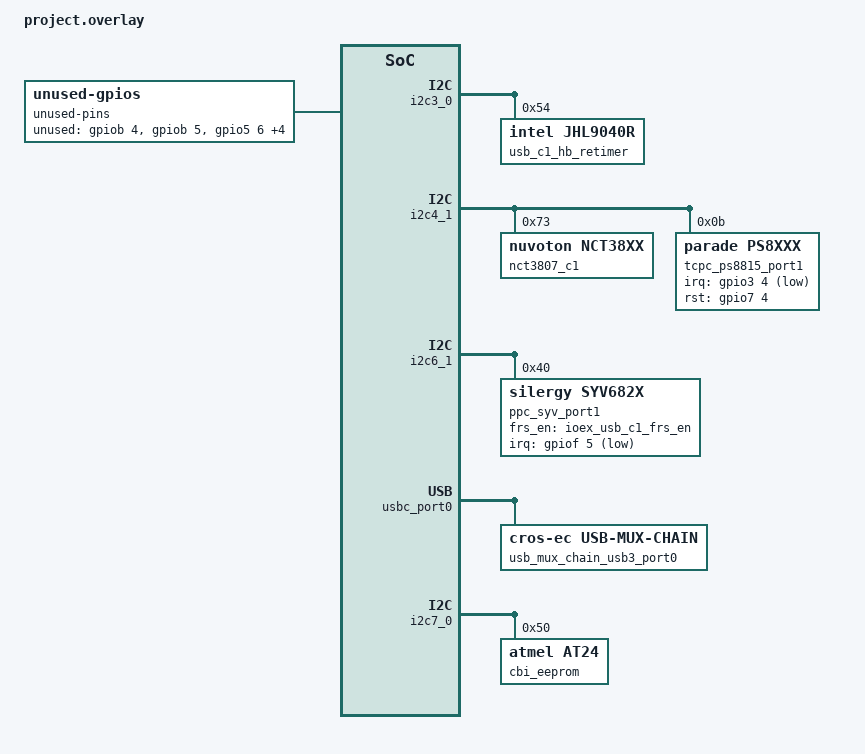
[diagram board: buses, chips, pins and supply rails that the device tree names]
/* Copyright 2023 The ChromiumOS Authors
 * Use of this source code is governed by a BSD-style license that can be
 * found in the LICENSE file.
 */

#include <cros/cbi_flash.dtsi>

/* Rex program common DTSI includes */
#include "../fan.dtsi"
#include "gpio.dtsi"
#include "../interrupts.dtsi"
#include "../keyboard.dtsi"
#include "../power_signals.dtsi"
#include "../rex.dtsi"
#include "../usbc.dtsi"

/* Screebo project DTS includes */
#include "cbi.dtsi"
#include "keyboard.dtsi"
#include "led_pins.dtsi"
#include "led_policy.dtsi"
#include "temp_sensors.dtsi"

/ {
	named-gpios {
		/delete-node/ ec-i2c-sensor-scl;
		/delete-node/ ec-i2c-sensor-sda;

		ioex_usb_c1_rt_rst_ls_l: usb_c1_rt_rst_ls_l {
			gpios = <&ioex_c1_port0 7 0>;
			no-auto-init;
		};
		ioex_usb_c1_frs_en: usb_c1_frs_en {
			gpios = <&ioex_c1_port0 6 0>;
			no-auto-init;
		};

	};

	unused-pins {
		compatible = "unused-gpios";

		unused-gpios =
			<&gpiob 4 0>, /* ec-i2c-sensor-sda */
			<&gpiob 5 0>, /* ec-i2c-sensor-scl */
			<&gpio5 6 0>, /* ec_imu_int_r_l */
			<&gpiod 4 0>, /* ec_als_rgb_int_r_l */
			<&gpio8 1 0>, /* ec_accel_int_r_l */
			<&gpio9 5 0>, /* tablet_mode_l */
			<&gpio6 0 0>; /* led_4_l */
	};

	gpio-interrupts {
		/delete-node/ ec_imu;
		/delete-node/ ec_als_rgb;
		/delete-node/ ec_accel;
		/delete-node/ volume_up;
		/delete-node/ volume_down;
		/delete-node/ tablet_mode;
	};

	batteries {
		default_battery: celxpert_c340152 {
			compatible = "celxpert,c340152", "battery-smart";
		};
	};

	aliases {
		/* GPIO37 */
		nct-usb-c1-rst-odl = &gpio_usb_c1_rst_odl;

		/* GPIO72 */
		hbr-usb-c1-rt-int-odl = &gpio_usb_c1_rt_int_odl;

		/* GPIOB1 */
		hbr-usb-c1-rt-pwr-en = &gpio_usb_c1_rt_3p3_sx_en;

		/* NCT38xx_C1 GPIO07 */
		hbr-usb-c1-rt-rst = &ioex_usb_c1_rt_rst_ls_l;

		/* NCT38xx_C1 GPIO06 */
		syv-usb-c1-frs-en = &ioex_usb_c1_frs_en;
	};
};

/* ADC and GPIO alt-function specifications */
&adc0 {
	pinctrl-0 = <&adc0_chan0_gp45
		     &adc0_chan1_gp44
		     &adc0_chan3_gp42
		     &adc0_chan7_gpe1
		     &adc0_chan8_gpf1
		     &adc0_chan11_gpc7>;
	pinctrl-names = "default";
};

&i2c3_0 {
	usb_c1_hb_retimer: jhl9040r-c1@54 {
		compatible = "intel,jhl9040r";
		reg = <0x54>;
		ls-en-pin = <&gpio_usb_c1_rt_3p3_sx_en>;
		int-pin = <&gpio_usb_c1_rt_int_odl>;
		reset-pin = <&gpio_usb_c1_hbr_rst_l>;
	};
};

&usb_c0_hb_retimer {
	reset-pin = <&gpio_usb_c0_hbr_rst_l>;
};

&i2c4_1 {
	/delete-node/ rt1716@4e;

	nct3807_c1: nct38xx@73 {
		compatible = "nuvoton,nct38xx";
		reg = <0x73>;

		tcpc_nct38xx_port1: nct38xx-tcpc {
			compatible = "nuvoton,nct38xx-tcpc";
			gpio-dev = <&nct38xx_gpio_C1>;
			tcpc-flags = <(
				TCPC_FLAGS_TCPCI_REV2_0 |
				TCPC_FLAGS_TCPCI_REV2_0_NO_VSAFE0V)>;
			/* a duplicate of the <&gpio_usb_c1_tcpc_int_odl> node in
			* "named-gpios". This is the Zephyr preferred style,
			* the "named-gpios" node will be dealt with at a later date.
			*/
			irq-gpios = <&gpio3 4 GPIO_ACTIVE_LOW>;
			/* a duplicate of the <&gpio_usb_c1_rst_odl> node in
			* "named-gpios". This is the Zephyr preferred style,
			* the "named-gpios" node will be dealt with at a later date.
			*/
			rst-gpios = <&gpio3 7 0>;
		};

		nct38xx_gpio_C1: nct38xx-gpio {
			#address-cells = <1>;
			#size-cells = <0>;
			compatible = "nuvoton,nct38xx-gpio";
			label = "NCT3807_C1";

			ioex_c1_port0: gpio@0 {
				compatible = "nuvoton,nct38xx-gpio-port";
				reg = <0x0>;
				label = "NCT3807_C1_GPIO0";
				gpio-controller;
				#gpio-cells = <2>;
				ngpios = <8>;
				pin_mask = <0xff>;
				pinmux_mask = <0xf7>;
			};
			ioex_c1_port1: gpio@1 {
				compatible = "nuvoton,nct38xx-gpio-port";
				reg = <0x1>;
				label = "NCT3807_C1_GPIO1";
				gpio-controller;
				#gpio-cells = <2>;
				ngpios = <8>;
				pin_mask = <0xff>;
			};
		};
	};

	tcpc_ps8815_port1: ps8xxx@b {
		compatible = "parade,ps8xxx";
		reg = <0xb>;
		tcpc-flags = <(
			TCPC_FLAGS_TCPCI_REV2_0 |
			TCPC_FLAGS_TCPCI_REV2_0_NO_VSAFE0V |
			TCPC_FLAGS_CONTROL_VCONN |
			TCPC_FLAGS_CONTROL_FRS)>;
		/* a duplicate of the <&gpio_usb_c1_tcpc_int_odl> node in
		 * "named-gpios". This is the Zephyr preferred style,
		 * the "named-gpios" node will be dealt with at a later date.
		 */
		irq-gpios = <&gpio3 4 GPIO_ACTIVE_LOW>;
		/* a duplicate of the <&gpio_usb_c1_rt_rst_r_odl> node in
		 * "named-gpios". This is the Zephyr preferred style,
		 * the "named-gpios" node will be dealt with at a later date.
		 */
		rst-gpios = <&gpio7 4 0>;
		is-alt;
	};
};

&i2c6_1 {
	/delete-node/ usb-c1-kb8010-retimer@8;
	/delete-node/ ktu1125@38;
	/delete-node/ ppc_syv@40;
	/delete-node/ usb-c1-anx7452-retimer@10;
	/delete-node/ usb-c1-hb-retimer@56;

	ppc_syv_port1: ppc_syv@40 {
		compatible = "silergy,syv682x";
		status = "okay";
		reg = <0x40>;
		frs_en_gpio = <&ioex_usb_c1_frs_en>;
		/* a duplicate of the <&gpio_usb_c1_ppc_int_odl> node in
		 * "named-gpios". This is the Zephyr preferred style,
		 * the "named-gpios" node will be dealt with at a later date.
		 */
		irq-gpios = <&gpiof 5 GPIO_ACTIVE_LOW>;
	};
};

&usbc_port0 {
	usb_mux_chain_usb3_port0: usb-mux-chain-0-usb3 {
		compatible = "cros-ec,usb-mux-chain";
		usb-muxes = <&virtual_mux_c0>;
		alternative-chain;
	};
};

&usbc_port1 {
	/delete-node/ usb-mux-chain-1-anx7452;
	/delete-node/ usb-mux-chain-1-kb8010;

	ppc = <&ppc_syv_port1>;
	tcpc = <&tcpc_nct38xx_port1>;
	usb-mux-chain-1 {
		usb-muxes = <&usb_c1_hb_retimer &virtual_mux_c1>;
	};
};

&fan0 {
	pwms = <&pwm5 0 PWM_KHZ(25) PWM_POLARITY_NORMAL>;
	rpm_min = <1710>;
	rpm_start = <1710>;
	rpm_max = <5700>;
};

&i2c7_0 {
	cbi_eeprom: eeprom@50 {
		compatible = "atmel,at24";
		reg = <0x50>;
		size = <2048>;
		pagesize = <16>;
		address-width = <8>;
		timeout = <5>;
	};
};

&cbi_flash {
	/*
	 * CBI section size is 0x1000 bytes, the CBI portion lies at the end of
	 * EC_RO section. EC_RO section ends at 0x50000 byte which is the offset
	 */
	offset = <0x50000>;
	size = <0x1000>;
};

&kblight {
	pwms = <&pwm3 0 PWM_KHZ(25) PWM_POLARITY_NORMAL>;
};
